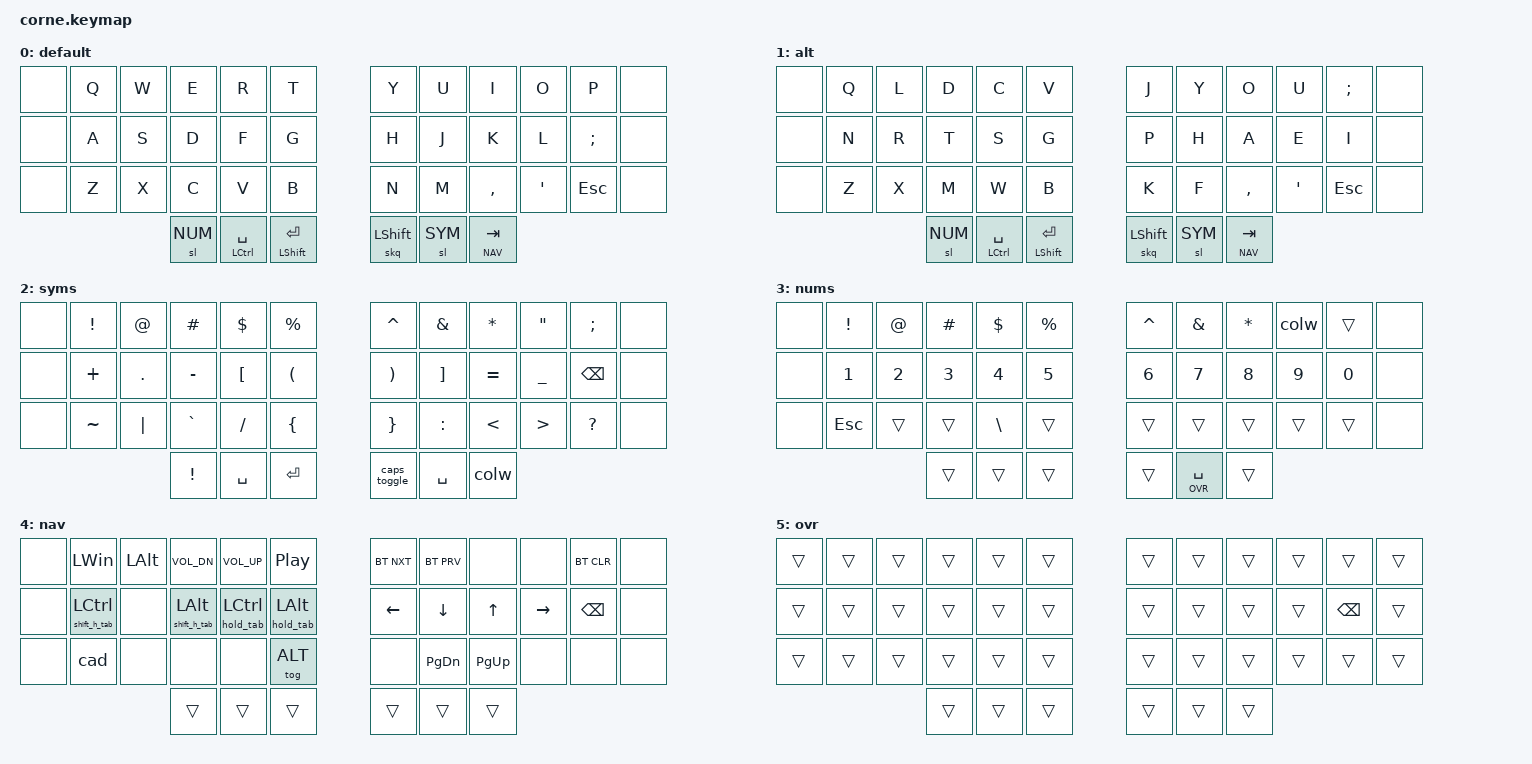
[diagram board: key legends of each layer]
#include <behaviors.dtsi>
#include <dt-bindings/zmk/bt.h>
#include <dt-bindings/zmk/keys.h>
#include <dt-bindings/zmk/mouse.h>
#include <dt-bindings/zmk/pointing.h>

#define ALT   1
#define SYM   2
#define NUM   3
#define NAV   4
#define OVR   5

#define AS(keycode) &as LS(keycode) keycode     // Autoshift Macro
&mt {
    flavor = "tap-preferred";
};
&sl {
    release-after-ms = <200>;
};
&caps_word {
    continue-list = <UNDERSCORE MINUS BACKSPACE K_CANCEL>;
};

/ {
     macros {
        hold_tab: hold_tab {
            compatible = "zmk,behavior-macro-one-param";
            #binding-cells = <1>;
            bindings
                = <&macro_param_1to1>
                , <&macro_press &kp MACRO_PLACEHOLDER>
                , <&macro_tap &kp TAB>
                , <&macro_pause_for_release>
                , <&macro_param_1to1>
                , <&macro_release &kp MACRO_PLACEHOLDER>
                ;
        };
        shift_h_tab: shift_h_tab {
            compatible = "zmk,behavior-macro-one-param";
            #binding-cells = <1>;
            bindings
                = <&macro_param_1to1>
                , <&macro_press &kp MACRO_PLACEHOLDER>
                , <&macro_press &kp LSHIFT>
                , <&macro_tap &kp TAB>
                , <&macro_pause_for_release>
                , <&macro_release &kp LSHIFT>
                , <&macro_param_1to1>
                , <&macro_release &kp MACRO_PLACEHOLDER>
                ;
        };
        caps_toggle: caps_toggle {
            compatible = "zmk,behavior-macro";
            #binding-cells = <0>;
            bindings
                = <&macro_tap &caps_word>
                , <&macro_tap &kp K_CANCEL>
                ;
        };
        cad: cad {
            compatible = "zmk,behavior-macro";
            #binding-cells = <0>;
            bindings
                = <&macro_press &kp LCTRL>
                , <&macro_press &kp LALT>
                , <&macro_tap &kp DELETE>
                , <&macro_release &kp LCTRL>
                , <&macro_release &kp LALT>
                ;
        };
        colw: colw {
            compatible = "zmk,behavior-macro";
            #binding-cells = <0>;
            bindings
                = <&macro_tap &kp ESC>
                , <&macro_tap &kp COLON>
                , <&macro_tap &kp W>
                , <&macro_tap &kp ENTER>
                ;
        };
    };
    behaviors {
        num_w_shift: nums_w_shift {
            compatible = "zmk,behavior-macro";
            #binding-cells = <0>;
            bindings = <&sk LSHIFT>, <&sl NUM>;
        };
        as: auto_shift {
            compatible = "zmk,behavior-hold-tap";
            #binding-cells = <2>;
            tapping_term_ms = <210>;
            quick_tap_ms = <0>;
            flavor = "tap-preferred";
            bindings = <&kp>, <&kp>;
        };
        skq: sticky_key_quick_release {
          compatible = "zmk,behavior-sticky-key";
          label = "STICKY_KEY_QUICK_RELEASE";
          #binding-cells = <1>;
          bindings = <&kp>;
          release-after-ms = <1000>;
          quick-release;
        };
        td_sl2_en: tap_dance_sl2_enter {
            compatible = "zmk,behavior-tap-dance";
            #binding-cells = <0>;
            tapping-term-ms = <300>;
            bindings = <&sl 2>, <&kp ENTER>;
        };
        td_sks_tab: tap_dance_skshift_tab {
            compatible = "zmk,behavior-tap-dance";
            #binding-cells = <0>;
            tapping-term-ms = <250>;
            bindings = <&skq LSHIFT>, <&kp TAB>;
        };
        td_sks_esc: tap_dance_skshift_esc {
            compatible = "zmk,behavior-tap-dance";
            #binding-cells = <0>;
            tapping-term-ms = <300>;
            bindings = <&skq LSHIFT>, <&kp ESC>;
        };
    };
    keymap {
        compatible = "zmk,keymap";

        base {
            bindings = <
&none       &kp Q  &kp W  &kp E   &kp R   &kp T                  &kp Y    &kp U   &kp I      &kp O    &kp P     &none
&none       &kp A  &kp S  &kp D   &kp F   &kp G                  &kp H    &kp J   &kp K      &kp L    &kp SEMI  &none
&none       &kp Z  &kp X  &kp C   &kp V   &kp B                  &kp N    &kp M   &kp COMMA  &kp SQT  &kp ESC   &none
                      &sl NUM  &mt LCTRL SPACE  &mt LSHIFT ENTER          &skq LSHIFT  &sl SYM  &lt NAV TAB   
            >;
            display-name = "default";
        };

        alt {
            bindings = <
&none       &kp Q  &kp L  &kp D   &kp C   &kp V                  &kp J    &kp Y   &kp O      &kp U    &kp SEMI  &none
&none       &kp N  &kp R  &kp T   &kp S   &kp G                  &kp P    &kp H   &kp A      &kp E    &kp I     &none
&none       &kp Z  &kp X  &kp M   &kp W   &kp B                  &kp K    &kp F   &kp COMMA  &kp SQT  &kp ESC   &none
                      &sl NUM  &mt LCTRL SPACE  &mt LSHIFT ENTER          &skq LSHIFT  &sl SYM  &lt NAV TAB   
            >;
            display-name = "alt";
        };

        syms {
            bindings = <
&none      &kp EXCL     &kp AT         &kp HASH       &kp DOLLAR    &kp PERCENT                  &kp CARET                  &kp AMPERSAND          &kp ASTRK            &kp DQT               &kp SEMI             &none
&none      &kp PLUS     &kp DOT        &kp MINUS      &kp LBKT      &kp LEFT_PARENTHESIS         &kp RIGHT_PARENTHESIS      &kp RBKT               &kp EQUAL            &kp UNDER             &kp BSPC             &none
&none      &kp TILDE    &kp PIPE       &kp GRAVE      &kp FSLH      &kp LBRC                     &kp RBRC                   &kp COLON              &kp LT               &kp GT                &kp QMARK            &none
                                       &kp EXCL        &kp SPACE     &kp ENTER                    &caps_toggle               &kp SPACE              &colw
            >;
            display-name = "syms";
        };

        nums {
            bindings = <
&none      &kp EXCL  &kp AT  &kp HASH    &kp DOLLAR   &kp PERCENT       &kp CARET      &kp AMPERSAND  &kp ASTRK  &colw   &trans  &none
&none      &kp N1    &kp N2  &kp N3      &kp N4       &kp N5            &kp N6         &kp N7         &kp N8     &kp N9  &kp N0  &none
&none      &kp ESC   &trans  &trans      &kp BSLH     &trans            &trans         &trans         &trans     &trans  &trans  &none
                                 &trans  &trans       &trans            &trans         &lt OVR SPACE         &trans
            >;
            display-name = "nums";
        };

        nav {
            bindings = <
&none   &kp LEFT_WIN          &kp LALT      &kp C_VOL_DN       &kp C_VOL_UP     &kp C_PLAY_PAUSE   &bt BT_NXT &bt BT_PRV   &none     &none        &bt BT_CLR  &none
&none   &shift_h_tab LCTRL    &none         &shift_h_tab LALT  &hold_tab LCTRL  &hold_tab LALT     &kp LEFT   &kp DOWN     &kp UP    &kp RIGHT    &kp BSPC    &none
&none   &cad                  &none         &none              &none            &tog ALT           &none      &kp PG_DN  &kp PG_UP   &none        &none       &none
                                            &trans             &trans           &trans             &trans     &trans       &trans
            >;
            display-name = "nav";
        };
        override {
            bindings = <
&trans  &trans  &trans  &trans  &trans     &trans          &trans  &trans  &trans  &trans  &trans    &trans
&trans  &trans  &trans  &trans  &trans     &trans          &trans  &trans  &trans  &trans  &kp BSPC  &trans
&trans  &trans  &trans  &trans  &trans     &trans          &trans  &trans  &trans  &trans  &trans    &trans
                        &trans  &trans     &trans          &trans  &trans  &trans
            >;
            display-name = "ovr";
        };
    };
};
